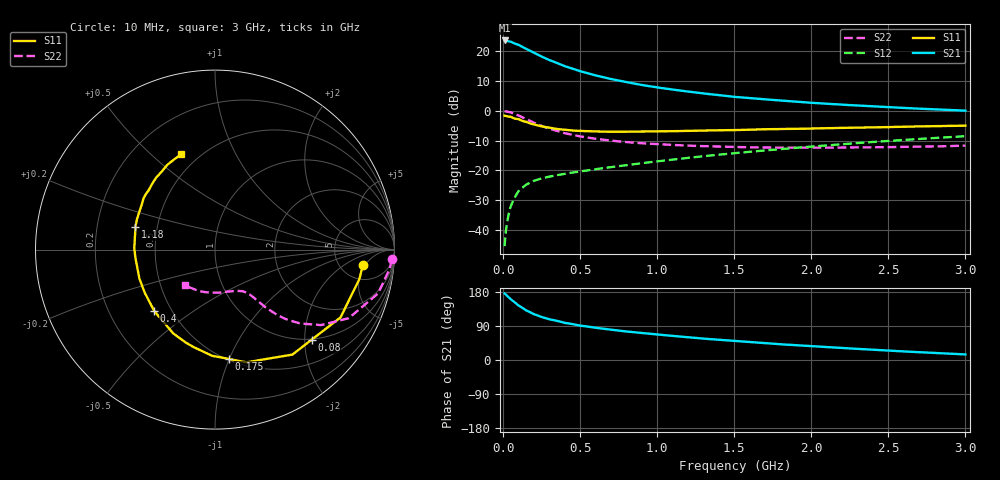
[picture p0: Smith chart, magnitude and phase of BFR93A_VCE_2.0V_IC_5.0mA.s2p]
! Infineon Technologies  Discrete & RF Semiconductors
! BFR93A
! VCE =  2.0 V,  IC =  5.0 mA
! Common Emitter S-Parameters:  Nov 2015
# GHz  S  MA  R  50
!  f  S11  S21  S12  S22
! GHz  MAG  ANG  MAG  ANG  MAG  ANG  MAG  ANG
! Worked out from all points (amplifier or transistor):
!   180 points, 10 MHz to 3 GHz, reference 50 ohm
!   highest |S21| = 23.7 dB at 10 MHz (marker M1)
!   |S21| within 3 dB of that: start of sweep to 157.8 MHz
!   unconditionally stable (mu >= 1): 721.6 MHz to end of sweep
!   at 160 MHz: K = 0.34, MSG = 22.6 dB, |S12| = -24.6 dB
!   at 1.22 GHz: K = 1.13, MAG = 8.8 dB, |S12| = -15.7 dB
!   at 3 GHz: K = 1.00, MAG = 4.2 dB, |S12| = -8.5 dB
!   S11 on the Smith chart (normalised r, x): 10 MHz: 8.20, -4.45; 80 MHz: 0.98, -2.16; 175 MHz: 0.51, -1.00; 400 MHz: 0.40, -0.36; 1.18 GHz: 0.38, +0.12; 3 GHz: 0.40, +0.63
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0.01  0.8282 -5.9  15.23 175.8  0.0053 87.1  0.9859 -3.2
0.02  0.8211 -11.5  15.13 171.6  0.0103 83.4  0.9797 -6.2
0.05  0.795 -28.4  14.5 160.0  0.0249 75.6  0.9404 -15.1
0.08  0.7363 -43.0  13.39 150.8  0.0365 67.4  0.8734 -22.0
0.1  0.7267 -53.6  12.87 143.9  0.0445 64.3  0.8368 -27.2
0.15  0.6521 -74.4  11.05 130.8  0.0574 56.2  0.7242 -35.5
0.175  0.6149 -82.6  10.22 126.3  0.0619 53.8  0.6769 -38.0
0.2  0.5917 -91.6  9.469 121.0  0.0664 51.7  0.631 -40.8
0.24  0.5557 -102.5  8.407 115.0  0.0717 49.2  0.5712 -43.6
0.26  0.5428 -107.5  7.948 112.2  0.0741 48.3  0.5452 -44.8
0.3  0.5217 -116.5  7.137 107.4  0.0783 47.3  0.5002 -46.5
0.4  0.4815 -134.6  5.63 98.0  0.0873 46.7  0.4204 -49.0
0.52  0.4565 -150.5  4.496 89.8  0.0974 47.4  0.3647 -50.4
0.6  0.4512 -159.0  3.939 84.9  0.1043 48.3  0.3376 -51.2
0.7  0.4447 -167.2  3.423 79.8  0.1131 49.4  0.3149 -52.4
0.9  0.4498 178.8  2.718 71.2  0.1315 51.4  0.2844 -55.5
1.02  0.4505 172.0  2.43 66.5  0.1434 52.1  0.2737 -57.7
1.18  0.4602 164.3  2.139 60.8  0.1599 52.7  0.2611 -61.7
1.52  0.4749 150.6  1.701 49.6  0.1958 53.0  0.246 -71.7
2.02  0.5054 134.3  1.355 35.9  0.2527 51.1  0.2401 -89.2
2.52  0.5349 121.4  1.144 24.5  0.3141 46.9  0.2456 -108.9
3  0.5632 109.5  1.007 14.7  0.3746 41.7  0.2602 -130.4
